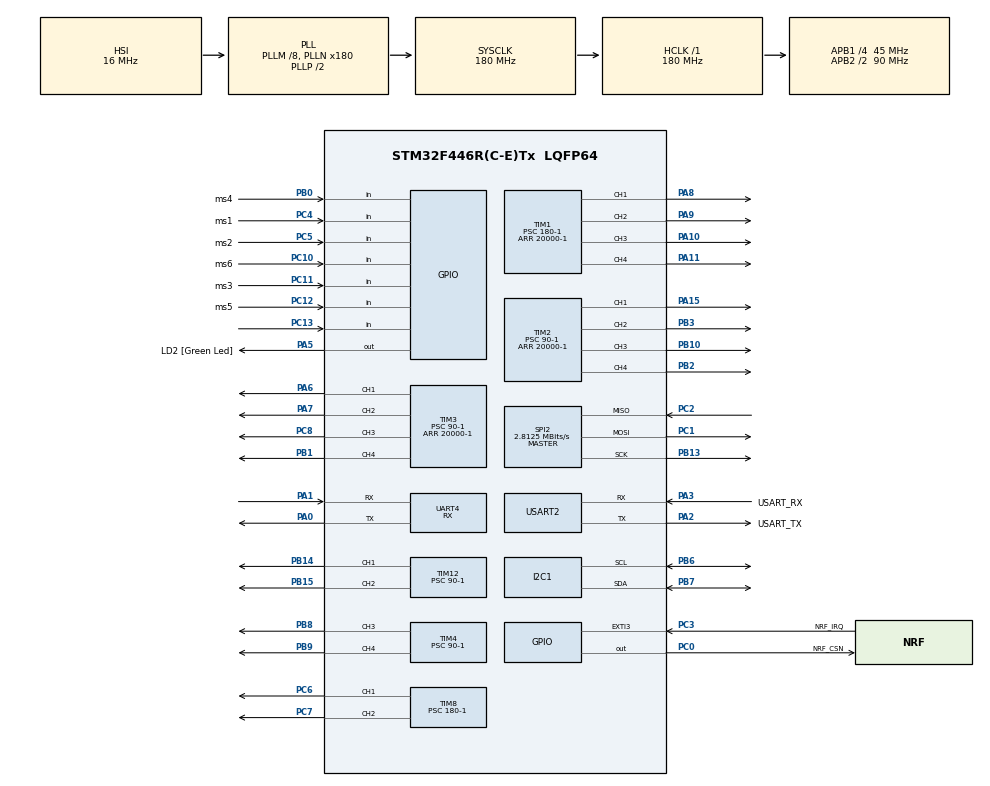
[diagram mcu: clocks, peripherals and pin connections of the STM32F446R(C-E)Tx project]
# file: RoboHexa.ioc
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Dma.I2C1_RX.0.Direction=DMA_PERIPH_TO_MEMORY
Dma.I2C1_RX.0.FIFOMode=DMA_FIFOMODE_DISABLE
Dma.I2C1_RX.0.Instance=DMA1_Stream0
Dma.I2C1_RX.0.MemDataAlignment=DMA_MDATAALIGN_BYTE
Dma.I2C1_RX.0.MemInc=DMA_MINC_ENABLE
Dma.I2C1_RX.0.Mode=DMA_NORMAL
Dma.I2C1_RX.0.PeriphDataAlignment=DMA_PDATAALIGN_BYTE
Dma.I2C1_RX.0.PeriphInc=DMA_PINC_DISABLE
Dma.I2C1_RX.0.Priority=DMA_PRIORITY_LOW
Dma.Request0=I2C1_RX
Dma.Request1=UART4_RX
Dma.UART4_RX.1.Direction=DMA_PERIPH_TO_MEMORY
Dma.UART4_RX.1.FIFOMode=DMA_FIFOMODE_DISABLE
Dma.UART4_RX.1.Instance=DMA1_Stream2
Dma.UART4_RX.1.MemDataAlignment=DMA_MDATAALIGN_BYTE
Dma.UART4_RX.1.MemInc=DMA_MINC_ENABLE
Dma.UART4_RX.1.Mode=DMA_CIRCULAR
Dma.UART4_RX.1.PeriphDataAlignment=DMA_PDATAALIGN_BYTE
Dma.UART4_RX.1.PeriphInc=DMA_PINC_DISABLE
Dma.UART4_RX.1.Priority=DMA_PRIORITY_LOW
I2C1.I2C_Mode=I2C_Fast
Mcu.Family=STM32F4
Mcu.Name=STM32F446R(C-E)Tx
Mcu.Package=LQFP64
NVIC.DMA1_Stream0_IRQn=true\:0\:0\:false\:false\:true\:false\:true\:true
NVIC.DMA1_Stream2_IRQn=true\:0\:0\:false\:false\:true\:false\:true\:true
NVIC.EXTI3_IRQn=true\:0\:0\:false\:false\:true\:true\:true\:true
NVIC.I2C1_ER_IRQn=true\:0\:0\:false\:false\:true\:true\:true\:true
NVIC.I2C1_EV_IRQn=true\:0\:0\:false\:false\:true\:true\:true\:true
NVIC.PriorityGroup=NVIC_PRIORITYGROUP_0
NVIC.TIM6_DAC_IRQn=true\:0\:0\:false\:false\:true\:true\:true\:true
NVIC.UART4_IRQn=true\:0\:0\:false\:false\:true\:true\:true\:true
PA0-WKUP.Mode=Asynchronous
PA0-WKUP.Signal=UART4_TX
PA1.Mode=Asynchronous
PA1.Signal=UART4_RX
PA10.Signal=S_TIM1_CH3
PA11.Signal=S_TIM1_CH4
PA13.GPIO_Label=TMS
PA13.Mode=Serial_Wire
PA13.Signal=SYS_JTMS-SWDIO
PA14.GPIO_Label=TCK
PA14.Mode=Serial_Wire
PA14.Signal=SYS_JTCK-SWCLK
PA15.Signal=S_TIM2_CH1_ETR
PA2.GPIO_Label=USART_TX
PA2.Mode=Asynchronous
PA2.Signal=USART2_TX
PA3.GPIO_Label=USART_RX
PA3.Mode=Asynchronous
PA3.Signal=USART2_RX
PA5.GPIO_Label=LD2 [Green Led]
PA5.Signal=GPIO_Output
PA6.Signal=S_TIM3_CH1
PA7.Signal=S_TIM3_CH2
PA8.Signal=S_TIM1_CH1
PA9.Signal=S_TIM1_CH2
PB0.GPIO_Label=ms4
PB0.GPIO_PuPd=GPIO_PULLDOWN
PB0.Signal=GPIO_Input
PB1.Signal=S_TIM3_CH4
PB10.Signal=S_TIM2_CH3
PB13.Mode=Full_Duplex_Master
PB13.Signal=SPI2_SCK
PB14.Signal=S_TIM12_CH1
PB15.Signal=S_TIM12_CH2
PB2.Signal=S_TIM2_CH4
PB3.Signal=S_TIM2_CH2
PB6.GPIO_Pu=GPIO_PULLUP
PB6.Mode=I2C
PB6.Signal=I2C1_SCL
PB7.GPIO_Pu=GPIO_PULLUP
PB7.Mode=I2C
PB7.Signal=I2C1_SDA
PB8.Signal=S_TIM4_CH3
PB9.Signal=S_TIM4_CH4
PC0.GPIO_Label=NRF_CSN
PC0.GPIO_Speed=GPIO_SPEED_FREQ_HIGH
PC0.PinState=GPIO_PIN_SET
PC0.Signal=GPIO_Output
PC1.Mode=Full_Duplex_Master
PC1.Signal=SPI2_MOSI
PC10.GPIO_Label=ms6
PC10.GPIO_PuPd=GPIO_PULLDOWN
PC10.Signal=GPIO_Input
PC11.GPIO_Label=ms3
PC11.GPIO_PuPd=GPIO_PULLDOWN
PC11.Signal=GPIO_Input
PC12.GPIO_Label=ms5
PC12.GPIO_PuPd=GPIO_PULLDOWN
PC12.Signal=GPIO_Input
PC13.GPIO_PuPd=GPIO_PULLUP
PC13.Signal=GPIO_Input
PC14-OSC32_IN.Mode=LSE-External-Oscillator
PC14-OSC32_IN.Signal=RCC_OSC32_IN
PC15-OSC32_OUT.Mode=LSE-External-Oscillator
PC15-OSC32_OUT.Signal=RCC_OSC32_OUT
PC2.Mode=Full_Duplex_Master
PC2.Signal=SPI2_MISO
PC3.GPIO_Label=NRF_IRQ
PC3.GPIO_ModeDefaultEXTI=GPIO_MODE_IT_FALLING
PC3.GPIO_PuPd=GPIO_PULLUP
PC3.Signal=GPXTI3
PC4.GPIO_Label=ms1
PC4.GPIO_PuPd=GPIO_PULLDOWN
PC4.Signal=GPIO_Input
PC5.GPIO_Label=ms2
PC5.GPIO_PuPd=GPIO_PULLDOWN
PC5.Signal=GPIO_Input
PC6.Signal=S_TIM8_CH1
PC7.Signal=S_TIM8_CH2
PC8.Signal=S_TIM3_CH3
PH0-OSC_IN.Mode=HSE-External-Oscillator
PH0-OSC_IN.Signal=RCC_OSC_IN
PH1-OSC_OUT.Mode=HSE-External-Oscillator
PH1-OSC_OUT.Signal=RCC_OSC_OUT
ProjectManager.HeapSize=0x200
ProjectManager.StackSize=0x400
ProjectManager.TargetToolchain=STM32CubeIDE
RCC.48MHZClocksFreq_Value=84000000
RCC.AHBFreq_Value=180000000
RCC.APB1CLKDivider=RCC_HCLK_DIV4
RCC.APB1Freq_Value=45000000
RCC.APB1TimFreq_Value=90000000
RCC.APB2CLKDivider=RCC_HCLK_DIV2
RCC.APB2Freq_Value=90000000
RCC.APB2TimFreq_Value=180000000
RCC.CortexFreq_Value=180000000
RCC.FLatency-AdvancedSettings=FLASH_LATENCY_5
RCC.HCLKFreq_Value=180000000
RCC.HSE_VALUE=8000000
RCC.HSI_VALUE=16000000
RCC.PLLM=8
RCC.PLLN=180
RCC.SYSCLKFreq_VALUE=180000000
RCC.SYSCLKSource=RCC_SYSCLKSOURCE_PLLCLK
RCC.USBFreq_Value=180000000
RCC.VCOOutputFreq_Value=360000000
SH.S_TIM12_CH1.0=TIM12_CH1,PWM Generation1 CH1
SH.S_TIM12_CH2.0=TIM12_CH2,PWM Generation2 CH2
SH.S_TIM1_CH1.0=TIM1_CH1,PWM Generation1 CH1
SH.S_TIM1_CH2.0=TIM1_CH2,PWM Generation2 CH2
SH.S_TIM1_CH3.0=TIM1_CH3,PWM Generation3 CH3
SH.S_TIM1_CH4.0=TIM1_CH4,PWM Generation4 CH4
SH.S_TIM2_CH1_ETR.0=TIM2_CH1,PWM Generation1 CH1
SH.S_TIM2_CH2.0=TIM2_CH2,PWM Generation2 CH2
SH.S_TIM2_CH3.0=TIM2_CH3,PWM Generation3 CH3
SH.S_TIM2_CH4.0=TIM2_CH4,PWM Generation4 CH4
SH.S_TIM3_CH1.0=TIM3_CH1,PWM Generation1 CH1
SH.S_TIM3_CH2.0=TIM3_CH2,PWM Generation2 CH2
SH.S_TIM3_CH3.0=TIM3_CH3,PWM Generation3 CH3
SH.S_TIM3_CH4.0=TIM3_CH4,PWM Generation4 CH4
SH.S_TIM4_CH3.0=TIM4_CH3,PWM Generation3 CH3
SH.S_TIM4_CH4.0=TIM4_CH4,PWM Generation4 CH4
SH.S_TIM8_CH1.0=TIM8_CH1,PWM Generation1 CH1
SH.S_TIM8_CH2.0=TIM8_CH2,PWM Generation2 CH2
SPI2.BaudRatePrescaler=SPI_BAUDRATEPRESCALER_16
SPI2.CalculateBaudRate=2.8125 MBits/s
SPI2.Direction=SPI_DIRECTION_2LINES
SPI2.Mode=SPI_MODE_MASTER
SPI2.VirtualType=VM_MASTER
TIM1.AutoReloadPreload=TIM_AUTORELOAD_PRELOAD_ENABLE
TIM1.Channel-PWM\ Generation1\ CH1=TIM_CHANNEL_1
TIM1.Channel-PWM\ Generation2\ CH2=TIM_CHANNEL_2
TIM1.Channel-PWM\ Generation3\ CH3=TIM_CHANNEL_3
TIM1.Channel-PWM\ Generation4\ CH4=TIM_CHANNEL_4
TIM1.Period=20000-1
TIM1.Prescaler=180-1
TIM1.Pulse-PWM\ Generation1\ CH1=0
TIM1.Pulse-PWM\ Generation2\ CH2=0
TIM1.Pulse-PWM\ Generation3\ CH3=0
TIM1.Pulse-PWM\ Generation4\ CH4=0
TIM12.AutoReloadPreload=TIM_AUTORELOAD_PRELOAD_ENABLE
TIM12.Channel-PWM\ Generation1\ CH1=TIM_CHANNEL_1
TIM12.Channel-PWM\ Generation2\ CH2=TIM_CHANNEL_2
TIM12.Period=20000-1
TIM12.Prescaler=90-1
TIM12.Pulse-PWM\ Generation1\ CH1=0
TIM12.Pulse-PWM\ Generation2\ CH2=0
TIM2.AutoReloadPreload=TIM_AUTORELOAD_PRELOAD_ENABLE
TIM2.Channel-PWM\ Generation1\ CH1=TIM_CHANNEL_1
TIM2.Channel-PWM\ Generation2\ CH2=TIM_CHANNEL_2
TIM2.Channel-PWM\ Generation3\ CH3=TIM_CHANNEL_3
TIM2.Channel-PWM\ Generation4\ CH4=TIM_CHANNEL_4
TIM2.Period=20000-1
TIM2.Prescaler=90-1
TIM2.Pulse-PWM\ Generation1\ CH1=0
TIM2.Pulse-PWM\ Generation2\ CH2=0
TIM2.Pulse-PWM\ Generation3\ CH3=0
TIM2.Pulse-PWM\ Generation4\ CH4=0
TIM3.AutoReloadPreload=TIM_AUTORELOAD_PRELOAD_ENABLE
TIM3.Channel-PWM\ Generation1\ CH1=TIM_CHANNEL_1
TIM3.Channel-PWM\ Generation2\ CH2=TIM_CHANNEL_2
TIM3.Channel-PWM\ Generation3\ CH3=TIM_CHANNEL_3
TIM3.Channel-PWM\ Generation4\ CH4=TIM_CHANNEL_4
TIM3.Period=20000-1
TIM3.Prescaler=90-1
TIM3.Pulse-PWM\ Generation1\ CH1=0
TIM3.Pulse-PWM\ Generation2\ CH2=0
TIM3.Pulse-PWM\ Generation3\ CH3=0
TIM3.Pulse-PWM\ Generation4\ CH4=0
TIM4.AutoReloadPreload=TIM_AUTORELOAD_PRELOAD_ENABLE
TIM4.Channel-PWM\ Generation3\ CH3=TIM_CHANNEL_3
TIM4.Channel-PWM\ Generation4\ CH4=TIM_CHANNEL_4
TIM4.Period=20000-1
TIM4.Prescaler=90-1
TIM4.Pulse-PWM\ Generation3\ CH3=0
TIM4.Pulse-PWM\ Generation4\ CH4=0
TIM6.Period=50-1
TIM6.Prescaler=4500-1
TIM8.AutoReloadPreload=TIM_AUTORELOAD_PRELOAD_ENABLE
TIM8.Channel-PWM\ Generation1\ CH1=TIM_CHANNEL_1
TIM8.Channel-PWM\ Generation2\ CH2=TIM_CHANNEL_2
TIM8.Period=20000-1
TIM8.Prescaler=180-1
TIM8.Pulse-PWM\ Generation1\ CH1=0
TIM8.Pulse-PWM\ Generation2\ CH2=0
UART4.Mode=MODE_RX
UART4.VirtualMode=Asynchronous
USART2.VirtualMode=VM_ASYNC
VP_TIM12_VS_ClockSourceINT.Mode=Internal
VP_TIM1_VS_ClockSourceINT.Mode=Internal
VP_TIM2_VS_ClockSourceINT.Mode=Internal
VP_TIM3_VS_ClockSourceINT.Mode=Internal
VP_TIM4_VS_ClockSourceINT.Mode=Internal
VP_TIM6_VS_ClockSourceINT.Mode=Enable_Timer
VP_TIM8_VS_ClockSourceINT.Mode=Internal
board=NUCLEO-F446RE

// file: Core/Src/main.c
/* USER CODE BEGIN Header */
/**
  ******************************************************************************
  * @file           : main.c
  * @brief          : Main program body
  ******************************************************************************
  * @attention
  *
  * Copyright (c) 2025 STMicroelectronics.
  * All rights reserved.
  *
  * This software is licensed under terms that can be found in the LICENSE file
  * in the root directory of this software component.
  * If no LICENSE file comes with this software, it is provided AS-IS.
  *
  ******************************************************************************
  */
/* USER CODE END Header */
#include "main.h"
#include "dma.h"
#include "i2c.h"
#include "spi.h"
#include "tim.h"
#include "usart.h"
#include "gpio.h"

/* USER CODE BEGIN Includes */
#include "bsp_servos.h"
#include "bsp_imu.h"
#include "bsp_ibus.h"
#include "bsp_nrf24.h"
#include "kalman_filter.h"
#include "leg_manager.h"
#include "leg_ik.h"
#include "init_emotes.h"
#include "gait_scheduler.h"
#include "sensor_fusion.h"
#include "control_pid.h"
#include <math.h>
/* USER CODE END Includes */

/* USER CODE BEGIN PV */

// debug variables
uint8_t leg=0, joint=0;
uint16_t pulse_us=1500;
float x=0.0, y=0.0, z=-100.0; // x, y and z coordinates of the body centered frame in (mm).
float angle = 0.0; // angle of rotation in degrees.
uint8_t work=0;

// 1. Control Inputs (Volatile is mandatory for variables shared with Interrupts)
float joy_stride_x_mm = 0.0f;
float joy_stride_y_mm = 0.0f; // Start with 0 (Stand still)
float joy_turn_deg    = 0.0f;
float stepHeight = 20.0;
uint8_t joy_gait    = 0;

// 2. The Gait Engine Instance
Gait_State_t robot_gait;

// 3. Body Control Inputs (For IMU or Manual)
BodyPose_t current_pose = {0};

uint16_t ch1;
uint16_t ch2;
uint16_t ch3;
uint16_t ch4;
uint16_t ch5;
uint16_t ch6;

uint8_t currentmode = 0;
// Timing (For Debouncing without blocking)
uint32_t last_button_press = 0;
uint32_t last_gait_switch = 0;

// Global Tuning for Balance Strength
float Kppitch_pose = 0.25f;
float Kipitch_pose = 4.0f;
float Kdpitch_pose = 0.02f;

float Kproll_pose = 0.2f;
float Kiroll_pose = 4.0f;
float Kdroll_pose = 0.015f;

float Kppitch_walk = 0.1f; //0.1
float Kipitch_walk = 1.0f; // 1.0
float Kdpitch_walk = 0.01f; //0.01

float Kproll_walk = 0.08f; // 0.08
float Kiroll_walk = 0.8f; // 0.8
float Kdroll_walk = 0.01f; // 0.01

Fusion_State_t ori = {0};

// PID Instances for Pitch and Roll
PID_Controller_t pid_pitch;
PID_Controller_t pid_roll;

// Shared Variables (Bridge between Fast Loop and Slow Loop)
float balance_pitch_output = 0.0f;
float balance_roll_output = 0.0f;

// --- SCHEDULER FLAGS ---
volatile uint8_t flag_50hz_gait = 0;
volatile uint8_t flag_200hz_gait = 0;

float pitchRef = 0.0f;
float rollRef = 0.0f;

/* USER CODE END PV */

void SystemClock_Config(void);

/* USER CODE BEGIN 0 */

/* TIM6 PeriodElapsedCallback (Configured for 200Hz) */
void HAL_TIM_PeriodElapsedCallback(TIM_HandleTypeDef *htim)
{
    if (htim->Instance == TIM6)
    {
        flag_200hz_gait = 1;

        static uint8_t cnt = 0;  // persists across interrupts
        cnt++;

        if (cnt >= 4)            // 200Hz / 4 = 50Hz
        {
            cnt = 0;
            flag_50hz_gait = 1;
//            HAL_GPIO_TogglePin(GPIOA, GPIO_PIN_5);
        }
    }
}

// Helper: Map function
float Map_Float(float x, float in_min, float in_max, float out_min, float out_max) {
    return (x - in_min) * (out_max - out_min) / (in_max - in_min) + out_min;
}

// Deadzone helper (Stick drift removal)
float Apply_Deadzone(float val, float limit) {
    if (fabsf(val) < limit) return 0.0f;
    return val;
}
/* USER CODE END 0 */

int main(void)
{

  /* MCU Configuration--------------------------------------------------------*/

  /* Reset of all peripherals, Initializes the Flash interface and the Systick. */
  HAL_Init();

  /* Configure the system clock */
  SystemClock_Config();

  /* USER CODE BEGIN SysInit */
  I2C1_BusRecovery();

  /* USER CODE END SysInit */

  /* Initialize all configured peripherals */
  MX_GPIO_Init();
  MX_DMA_Init();
  MX_USART2_UART_Init();
  MX_TIM1_Init();
  MX_TIM2_Init();
  MX_TIM3_Init();
  MX_TIM4_Init();
  MX_TIM8_Init();
  MX_TIM12_Init();
  MX_I2C1_Init();
  MX_SPI2_Init();
  MX_TIM6_Init();
  MX_UART4_Init();
  /* USER CODE BEGIN 2 */

	// 1. Hardware Init: Start PWM Timers
	BSP_Servo_Init();

	// 2. Init Middleware (Math & Physics)
	Leg_System_Init();

	Servo_State_Init();
	HAL_Delay(1000);

	Robot_Init();

	// 3. Gait Init
	Gait_Init(&robot_gait);

	// 4. Start the Physics Timer
	HAL_TIM_Base_Start_IT(&htim6);

	// 5. Init IMU
	if (BSP_IMU_Init() == 1) {
		work = 99;
	} else {
		Robot_Sit();
		Error_Handler();
	}

	// 6. Init the complementary filter
	Fusion_Init();

	// 7. Init PID
	PID_Init(&pid_pitch, Kppitch_walk, Kipitch_walk, Kdpitch_walk, 30.0f, 1.2f);
	PID_Init(&pid_roll,  Kproll_walk, Kiroll_walk, Kdroll_walk, 30.0f, 1.2f);

	// 8. Init RC
	BSP_IBUS_Init(&huart4);

  /* USER CODE END 2 */

  /* Infinite loop */
  /* USER CODE BEGIN WHILE */
  while (1)
  {

	  // === TASK 1: FAST LOOP (200Hz) ===
	  if (flag_200hz_gait) {
		  flag_200hz_gait = 0;

			// 1. Read IMU (Non-blocking check)
			// If the driver is idle, ask for new data
			if (BSP_IMU_Get_State() == IMU_IDLE) {
				BSP_IMU_Start_Read_DMA();
			}

			// 2. Check if we actually have NEW data to process
			MPU6050_Data_t raw = BSP_IMU_Get_Data();

			// 3. Run Sensor Fusion
			Fusion_Update(raw.Accel_X_RAW, raw.Accel_Y_RAW, raw.Accel_Z_RAW, raw.Gyro_X_RAW, raw.Gyro_Y_RAW, raw.Gyro_Z_RAW, 0.005f);

			Fusion_State_t orient = Fusion_Get_Angles();

			static int prevMode = -1;
			if (currentmode == 1 || currentmode == 3)
			{
			    if (currentmode == 1 && prevMode != 1) {
			        // Entering mode 1
			        PID_SetGains(&pid_pitch, Kppitch_walk, Kipitch_walk, Kdpitch_walk);
			        PID_SetGains(&pid_roll,  Kproll_walk, Kiroll_walk, Kdroll_walk);

		            PID_Reset(&pid_pitch);
		            PID_Reset(&pid_roll);

			    }

			    if (currentmode == 3 && prevMode != 3) {
			        // Entering mode 3
			        PID_SetGains(&pid_pitch, Kppitch_pose, Kipitch_pose, Kdpitch_pose);
			        PID_SetGains(&pid_roll,  Kproll_pose, Kiroll_pose, Kdroll_pose);

		            PID_Reset(&pid_pitch);
		            PID_Reset(&pid_roll);
			    }

			    balance_pitch_output = PID_Compute(&pid_pitch, pitchRef,
			                                       orient.pitch, 0.005f);
			    balance_roll_output  = PID_Compute(&pid_roll, rollRef,
			                                       orient.roll, 0.005f);
			    // Update previous mode at end of loop
			    prevMode = currentmode;
			}

	  }

		if (flag_50hz_gait) {
			flag_50hz_gait = 0; // Clear flag

			// Apply Balance Correction
			if (currentmode == 1 || currentmode == 3) {
				current_pose.pitch = balance_pitch_output;
				current_pose.roll = balance_roll_output;

				if (currentmode == 3) {
				Leg_Update_Pose(current_pose);
				}
			}

			if (currentmode == 0 || currentmode == 1 || currentmode == 2) {
			Gait_Update(&robot_gait, &current_pose, joy_stride_x_mm, joy_stride_y_mm, joy_turn_deg, joy_gait, currentmode, stepHeight, 0.02f);
//			HAL_GPIO_TogglePin(GPIOA, GPIO_PIN_5);
			}
			if (currentmode == 4 && ch5 == 1000) {
				// 1. Calculate the Time Base (t)
				// We use system ticks converted to a radian angle
				float time_base = HAL_GetTick() * 0.002f;

				// 2. Generate Sine Waves
				// X and Roll are Synced (Sine)
				current_pose.x = 30.0f * sinf(time_base);
				current_pose.roll = 15.0f * sinf(time_base);

				// Y and Pitch are Synced (Cosine)
				// Cosine is just Sine shifted by 90 degrees
				current_pose.y = 30.0f * cosf(time_base);
				current_pose.pitch = 15.0f * cosf(time_base);

			Gait_Update(&robot_gait, &current_pose, joy_stride_x_mm, joy_stride_y_mm, joy_turn_deg, joy_gait, currentmode, stepHeight, 0.02f);
			}
		}

		// --- 1. MODE SWITCHING (Blue Button PC13) ---
		// Logic: Active LOW (Reset).
		// We use a timestamp to "debounce" without stopping the code.
		if (HAL_GPIO_ReadPin(GPIOC, GPIO_PIN_13) == GPIO_PIN_RESET) {
			uint32_t now = HAL_GetTick();
			if ((now - last_button_press) > 300) // 300ms cooldown
					{
				currentmode++;
				if (currentmode > 4)
					currentmode = 0;

				last_button_press = now;
			}
		}

		// --- 2. READ RC INPUTS ---
		BSP_IBUS_Process(); // Parse any new data
		if (BSP_IBUS_IsConnected()) {
			ch1 = BSP_IBUS_ReadChannel(0);
			ch2 = BSP_IBUS_ReadChannel(1);
			ch3 = BSP_IBUS_ReadChannel(2);
			ch4 = BSP_IBUS_ReadChannel(3);
			ch5 = BSP_IBUS_ReadChannel(4);
			ch6 = BSP_IBUS_ReadChannel(5);

			// --- 3. GAIT SWITCHING GESTURE ---
			// Gesture: VRB Low (<=1100) AND Right Stick Up (>=1800)
			if (ch6 <= 1020 && ch2 >= 1800) {
				uint32_t now = HAL_GetTick();
				if ((now - last_gait_switch) > 500) // 500ms cooldown
						{
					joy_gait++;
					if (joy_gait > 2)
						joy_gait = 0;

					last_gait_switch = now;
				}
			}

			// --- 4. EXECUTE MODES ---
			if (currentmode == 0 || currentmode == 1 || currentmode == 4)
					{
				// Reset Pose Angles (Keep body flat while walking)
				current_pose.roll = 0;
				current_pose.pitch = 0;
				current_pose.yaw = 0;

				current_pose.x = 0;
				current_pose.y = 0;

				// Mapping
				float walkX = Map_Float((float) ch1, 1000.0f, 2000.0f, -60.0f, 60.0f);
				float walkY = Map_Float((float) ch2, 1119.0f, 2000.0f, -60.0f, 60.0f);
//				float transY = Map_Float((float) ch5, 1000.0f, 2000.0f, -40.0f, 40.0f);
				stepHeight = Map_Float((float) ch5, 1000.0f, 2000.0f, 20.0f, 100.0f);
				float turn_deg = Map_Float((float) ch4, 1000.0f, 2000.0f, -25.0f, 25.0f);

				// Apply Deadzones & Update Globals
				joy_stride_x_mm = Apply_Deadzone(walkX, 10.0f);
				joy_stride_y_mm = Apply_Deadzone(walkY, 10.0f);
				joy_turn_deg = Apply_Deadzone(turn_deg, 2.5f);

				// Pose Mappings (Height & Body Shift)
				current_pose.z = Map_Float((float) ch3, 1118.0f, 2000.0f, 0.0f, -150.0f);
//				current_pose.y = Apply_Deadzone(transY, 5.0f);

				// Speed Mapping
				robot_gait.ground_speed = Map_Float((float) ch6, 1000.0f, 2000.0f, 0.0f, 1.0f);
			} else // RC_MODE_POSE
			{
				// Stop Walking
				joy_stride_x_mm = 0.0f;
				joy_stride_y_mm = 0.0f;
				joy_turn_deg = 0.0f;

				// Translation Mappings
				float poseX = Map_Float((float) ch4, 1000.0f, 2000.0f, -40.0f, 40.0f);
				float poseY = Map_Float((float) ch3, 1118.0f, 2000.0f, -40.0f, 40.0f);

				current_pose.x = Apply_Deadzone(poseX, 2.0f);
				current_pose.y = Apply_Deadzone(poseY, 2.0f);
				current_pose.z = Map_Float((float) ch6, 1000.0f, 2000.0f, 0.0f, -150.0f);

				// Rotation Mappings (With manual trim offsets)
				current_pose.roll = Map_Float((float) ch1, 1000.0f, 2000.0f, -15.0f, 15.0f) - 0.4f;
				current_pose.pitch = Map_Float((float) ch2, 1119.0f, 2000.0f, -15.0f, 15.0f) - 4.0f;
				current_pose.yaw = Map_Float((float) ch5, 1000.0f, 2000.0f, -30.0f, 30.0f);
			}
		}

//		ori = Fusion_Get_Angles();

//	  Leg_Set_Angle_Smoothly(Leg, joint, Servo_Get_Current(Leg, joint), angle, debug_speed, dt) ;
//	  Leg_Move_To_XYZ_Smoothly(Leg, x, y, z, debug_speed, dt);
//	  Leg_Update_Pose(test_pose);
//		            __HAL_TIM_SET_COMPARE(&htim8, TIM_CHANNEL_1, pulse_us);
//		            Leg_Set_Angle(leg, joint, angle) ;

//	  HAL_Delay(20);
    /* USER CODE END WHILE */

  }
}

void SystemClock_Config(void)
{
  RCC_OscInitTypeDef RCC_OscInitStruct = {0};
  RCC_ClkInitTypeDef RCC_ClkInitStruct = {0};

  /** Configure the main internal regulator output voltage
  */
  __HAL_RCC_PWR_CLK_ENABLE();
  __HAL_PWR_VOLTAGESCALING_CONFIG(PWR_REGULATOR_VOLTAGE_SCALE1);

  /** Initializes the RCC Oscillators according to the specified parameters
  * in the RCC_OscInitTypeDef structure.
  */
  RCC_OscInitStruct.OscillatorType = RCC_OSCILLATORTYPE_HSI;
  RCC_OscInitStruct.HSIState = RCC_HSI_ON;
  RCC_OscInitStruct.HSICalibrationValue = RCC_HSICALIBRATION_DEFAULT;
  RCC_OscInitStruct.PLL.PLLState = RCC_PLL_ON;
  RCC_OscInitStruct.PLL.PLLSource = RCC_PLLSOURCE_HSI;
  RCC_OscInitStruct.PLL.PLLM = 8;
  RCC_OscInitStruct.PLL.PLLN = 180;
  RCC_OscInitStruct.PLL.PLLP = RCC_PLLP_DIV2;
  RCC_OscInitStruct.PLL.PLLQ = 2;
  RCC_OscInitStruct.PLL.PLLR = 2;
  if (HAL_RCC_OscConfig(&RCC_OscInitStruct) != HAL_OK)
  {
    Error_Handler();
  }

  /** Activate the Over-Drive mode
  */
  if (HAL_PWREx_EnableOverDrive() != HAL_OK)
  {
    Error_Handler();
  }

  /** Initializes the CPU, AHB and APB buses clocks
  */
  RCC_ClkInitStruct.ClockType = RCC_CLOCKTYPE_HCLK|RCC_CLOCKTYPE_SYSCLK
                              |RCC_CLOCKTYPE_PCLK1|RCC_CLOCKTYPE_PCLK2;
  RCC_ClkInitStruct.SYSCLKSource = RCC_SYSCLKSOURCE_PLLCLK;
  RCC_ClkInitStruct.AHBCLKDivider = RCC_SYSCLK_DIV1;
  RCC_ClkInitStruct.APB1CLKDivider = RCC_HCLK_DIV4;
  RCC_ClkInitStruct.APB2CLKDivider = RCC_HCLK_DIV2;

  if (HAL_RCC_ClockConfig(&RCC_ClkInitStruct, FLASH_LATENCY_5) != HAL_OK)
  {
    Error_Handler();
  }
}

/* USER CODE BEGIN 4 */
void HAL_GPIO_EXTI_Callback(uint16_t GPIO_Pin)
{
    // PC3 is the NRF IRQ Pin
    if (GPIO_Pin == GPIO_PIN_3)
    {
        if (BSP_NRF_DataReady())
        {
            uint8_t rx_buffer[32];
            BSP_NRF_ReadPacket(rx_buffer);

            // --- DATA RECEIVED! ---
            // rx_buffer[0] = delay_time2
            // rx_buffer[1] = walk command
            // rx_buffer[2] = init command
            // ... map these to the robot variables later ...

            // --- SEND TELEMETRY BACK ---
            // Create a dummy packet for now
            uint8_t telem_buffer[32] = {0};
            telem_buffer[0] = 77; // Example battery level
            BSP_NRF_WriteAckPayload(1, telem_buffer, 32);
        }
    }
}

/* USER CODE END 4 */

void Error_Handler(void)
{
  __disable_irq();
  while (1)
  {
  }
}
